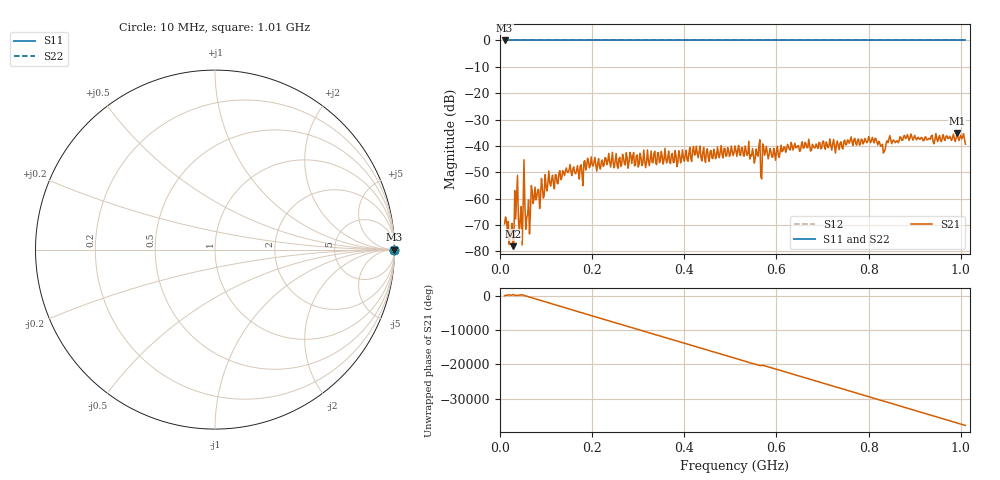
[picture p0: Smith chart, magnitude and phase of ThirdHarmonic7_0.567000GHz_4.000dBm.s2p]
! 8/17/2025 5:27:13 PM
! C:\ANRITSUVNA\TEMP\TEMP.S2P
! CHANNEL.1
! TR.MEASUREMENT
! RAW.DATA
! RF.CORRECTION.OFF
! AVERAGING.OFF
! IF.BANDWIDTH: 5KHZ
! SWEEPTYPE:  FREQ.SWEEP(Linear)
! Reference Plane Port Info
! PORT:  PORT1  PORT2
! DISTANCE:  0  m  0  m
! TIME:  0  s  0  s
! PHASE.OFFSET:  0  deg.  0  deg.
! LOSS:  0  dB  0  dB
! REF.LOSS:  0  dB  0  dB
! REF.FREQ:  0  Hz  0  Hz
! Power Info
! POWER:  -20  dBm  -20  dBm
! EFF.POWER:  -20  dBm  -20  dBm
! SOURCE.ATTEN:  0  dB  0  dB
! TEST.ATTEN:  0  dB  0  dB
# GHZ S RI R 50.0
! FREQ.GHZ  S11RE  S11IM  S21RE  S21IM  S12RE  S12IM  S22RE  S22IM
!; PortSelection: Port_12
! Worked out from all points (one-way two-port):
!   501 points, 10 MHz to 1.01 GHz, reference 50 ohm
!   highest |S21| = -35.13 dB at 992 MHz (marker M1); lowest = -78.1 dB at 28 MHz (marker M2)
!   lowest |S11| = 0.0 dB at 10 MHz (marker M3)
!   |S11| at or under -10 dB: nowhere
!   |S22| runs from 0.0 to 0.0 dB; largest |S21 - S12| = 1
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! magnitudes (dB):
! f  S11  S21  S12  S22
! 10 MHz  0.0  -69.6  0.0  0.0
! 24 MHz  0.0  -74.6  0.0  0.0
! 28 MHz  0.0  -78.1  0.0  0.0
! 36 MHz  0.0  -59.2  0.0  0.0
! 42 MHz  0.0  -72.7  0.0  0.0
! 44 MHz  0.0  -67.2  0.0  0.0
! 50 MHz  0.0  -64.5  0.0  0.0
! 56 MHz  0.0  -71.7  0.0  0.0
! 60 MHz  0.0  -66.0  0.0  0.0
! 72 MHz  0.0  -61.9  0.0  0.0
! 178 MHz  0.0  -50.8  0.0  0.0
! 344 MHz  0.0  -42.6  0.0  0.0
! 510 MHz  0.0  -40.0  0.0  0.0
! 560 MHz  0.0  -43.9  0.0  0.0
! 570 MHz  0.0  -39.2  0.0  0.0
! 574 MHz  0.0  -43.5  0.0  0.0
! 678 MHz  0.0  -39.4  0.0  0.0
! 804 MHz  0.0  -38.8  0.0  0.0
! 832 MHz  0.0  -42.7  0.0  0.0
! 844 MHz  0.0  -37.5  0.0  0.0
! 992 MHz  0.0  -35.1  0.0  0.0
! 1.01 GHz  0.0  -39.4  0.0  0.0
